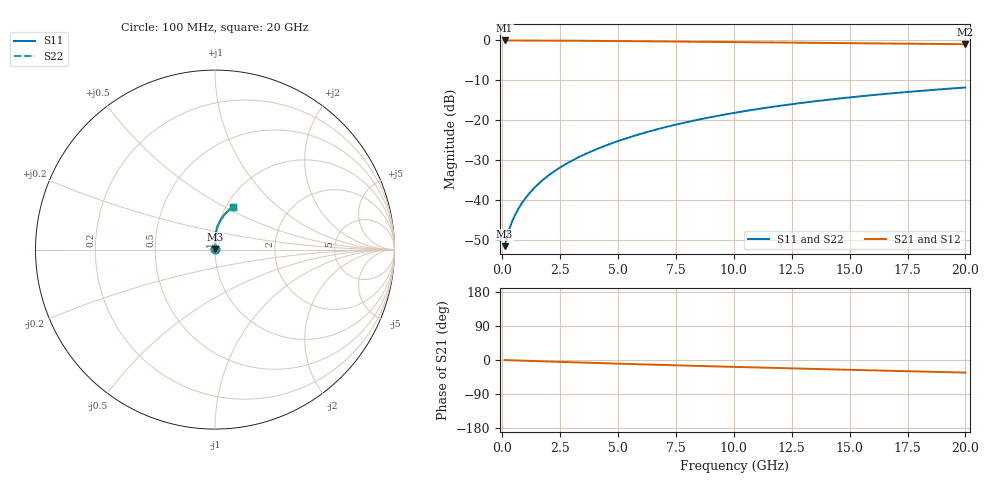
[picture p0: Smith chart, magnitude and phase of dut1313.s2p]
! Touchstone file exported from HFSS 2024.1.0
!  File:  C:/UserFiles/LocalFiles/RDL_TSV_Batchsim/temp_RDL_bottom_1313_1780368657.aedt
!  Generated:  10:53:04 AM Jun  2, 2026
!  Design:  RDL_bottom
!  Project:  temp_RDL_bottom_1313_1780368657
!  Setup:  Setup1
!  Solution:  Sweep
! Variables:
!  dtsv = 10.80580581um
!  hbump = 3um
!  htsv = 86.37um
!  ldown = 502.28um
!  lrdl = 100um
!  p = 40
!  p1 = 45.08um
!  rhole = 1um
!  t = 450um
!  tdown = 3.23um
!  trdl = 3.915915916um
!  wdown = 26.25um
!  wrdl = 20um
# GHz S MA R 50.000000
! Terminal data exported
! Port[1] = RDL1_T1
! Port[2] = RDL1_T2
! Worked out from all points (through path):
!   200 points, 100 MHz to 20 GHz, reference 50 ohm
!   highest |S21| = -0.02 dB at 100 MHz (marker M1); lowest = -1.0 dB at 20 GHz (marker M2)
!   group delay of S21, straight-line fit = 4.56 ps
!   lowest |S11| = -51.5 dB at 100 MHz (marker M3), VSWR 1.01, Z = 50.2 + j0.123 ohm
!   |S11| at or under -10 dB: start of sweep to end of sweep
!   |S22| runs from -51.5 to -11.8 dB; largest |S21 - S12| = 2.6e-15
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0.1  0.002665 27.5  0.9976 -0.2  0.9976 -0.2  0.002665 27.5
! Gamma 0 0 0 0
! Port Impedance 50 0 50 0
0.2  0.003454 43.3  0.9974 -0.4  0.9974 -0.4  0.003454 43.3
0.3  0.004332 52.0  0.9972 -0.6  0.9972 -0.6  0.004332 52.0
0.4  0.00521 57.8  0.997 -0.8  0.997 -0.8  0.00521 57.8
0.5  0.006086 62.0  0.9969 -1.0  0.9969 -1.0  0.006086 62.0
0.6  0.006967 65.4  0.9967 -1.2  0.9967 -1.2  0.006967 65.4
0.8  0.008765 70.5  0.9964 -1.6  0.9964 -1.6  0.008765 70.5
1  0.01062 74.2  0.9961 -2.0  0.9961 -2.0  0.01062 74.2
1.2  0.01251 77.0  0.9957 -2.4  0.9957 -2.4  0.01251 77.0
1.7  0.01743 81.6  0.9946 -3.4  0.9946 -3.4  0.01743 81.6
2.2  0.02256 84.4  0.9932 -4.4  0.9932 -4.4  0.02256 84.4
2.8  0.02898 86.5  0.9911 -5.6  0.9911 -5.6  0.02898 86.5
3.5  0.03685 88.1  0.9882 -6.9  0.9882 -6.9  0.03685 88.1
4.2  0.04511 88.9  0.9849 -8.2  0.9849 -8.2  0.04512 88.9
5  0.05502 89.3  0.9807 -9.7  0.9807 -9.7  0.05502 89.3
6.8  0.07876 88.5  0.9703 -12.9  0.9703 -12.9  0.07877 88.5
8.4  0.101 86.7  0.9607 -15.6  0.9607 -15.6  0.101 86.8
10.1  0.1251 84.2  0.9506 -18.3  0.9506 -18.3  0.1251 84.3
11.7  0.1478 81.6  0.9412 -20.9  0.9412 -20.9  0.1479 81.6
13.4  0.1716 78.7  0.9315 -23.5  0.9315 -23.5  0.1717 78.7
16.7  0.216 72.9  0.9132 -28.4  0.9132 -28.4  0.2161 73.0
20  0.2574 67.4  0.8954 -33.2  0.8954 -33.2  0.2575 67.4
